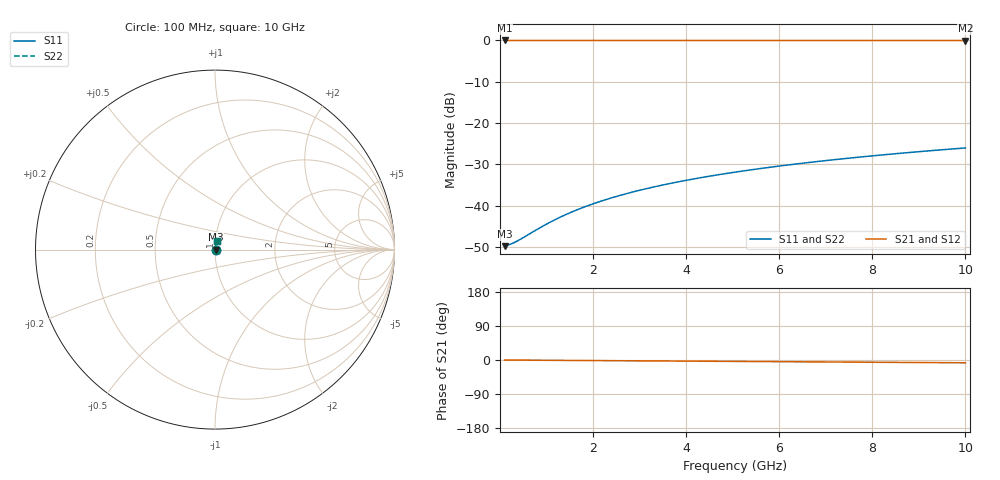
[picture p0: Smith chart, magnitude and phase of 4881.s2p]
# Hz S RI R 50.00
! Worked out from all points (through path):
!   100 points, 100 MHz to 10 GHz, reference 50 ohm
!   highest |S21| = -0.03 dB at 100 MHz (marker M1); lowest = 0.0 dB at 10 GHz (marker M2)
!   group delay of S21, straight-line fit = 2.05 ps
!   lowest |S11| = -49.7 dB at 100 MHz (marker M3), VSWR 1.01, Z = 50.3 + j0.0501 ohm
!   |S11| at or under -10 dB: start of sweep to end of sweep
!   |S22| runs from -49.7 to -26.0 dB; largest |S21 - S12| = 0
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1e8  0.00322 0.000497  0.9968 -0.00128  0.9968 -0.00128  0.00322 0.000497
2e8  0.00324 0.000994  0.9968 -0.00256  0.9968 -0.00256  0.00324 0.000994
3e8  0.00326 0.00149  0.9967 -0.00385  0.9967 -0.00385  0.00326 0.00149
4e8  0.00328 0.00199  0.9967 -0.00513  0.9967 -0.00513  0.00328 0.00199
9e8  0.00336 0.00447  0.9966 -0.0115  0.9966 -0.0115  0.00336 0.00447
1.2e9  0.00342 0.00596  0.9965 -0.0154  0.9965 -0.0154  0.00342 0.00596
1.5e9  0.00349 0.00745  0.9964 -0.0192  0.9964 -0.0192  0.00349 0.00745
1.8e9  0.00356 0.00894  0.9963 -0.0231  0.9963 -0.0231  0.00356 0.00894
2.1e9  0.00365 0.0104  0.9962 -0.0269  0.9962 -0.0269  0.00365 0.0104
2.5e9  0.00378 0.0124  0.996 -0.032  0.996 -0.032  0.00378 0.0124
2.9e9  0.00393 0.0144  0.9958 -0.0372  0.9958 -0.0372  0.00393 0.0144
3.4e9  0.00415 0.0169  0.9955 -0.0436  0.9955 -0.0436  0.00415 0.0169
3.8e9  0.00435 0.0189  0.9952 -0.0487  0.9952 -0.0487  0.00435 0.0189
4.2e9  0.00456 0.0208  0.9949 -0.0538  0.9949 -0.0538  0.00456 0.0208
4.6e9  0.0048 0.0228  0.9945 -0.0589  0.9945 -0.0589  0.0048 0.0228
5.1e9  0.00512 0.0253  0.994 -0.0653  0.994 -0.0653  0.00512 0.0253
5.9e9  0.0057 0.0292  0.9932 -0.0755  0.9932 -0.0755  0.0057 0.0292
6.7e9  0.00637 0.0331  0.9922 -0.0857  0.9922 -0.0857  0.00637 0.0331
7.5e9  0.00711 0.037  0.9911 -0.0959  0.9911 -0.0959  0.00711 0.037
8.4e9  0.00804 0.0414  0.9897 -0.1074  0.9897 -0.1074  0.00804 0.0414
9.2e9  0.00895 0.0453  0.9884 -0.1175  0.9884 -0.1175  0.00895 0.0453
1e10  0.00995 0.0491  0.9869 -0.1277  0.9869 -0.1277  0.00995 0.0491
